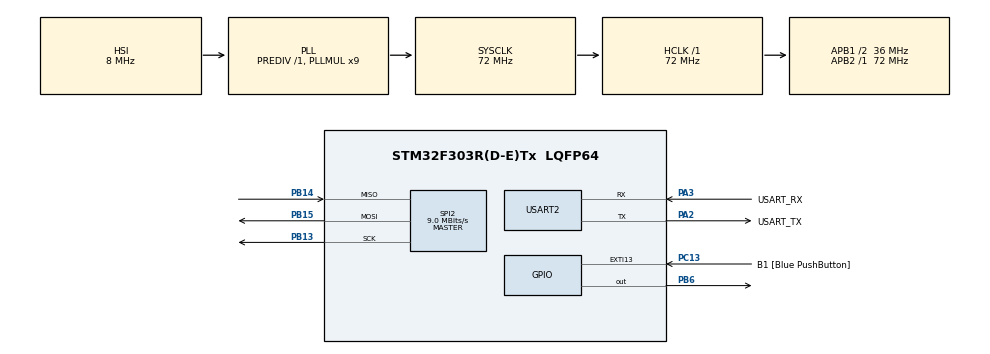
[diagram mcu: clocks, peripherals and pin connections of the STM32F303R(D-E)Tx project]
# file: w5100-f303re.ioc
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Mcu.Family=STM32F3
Mcu.Name=STM32F303R(D-E)Tx
Mcu.Package=LQFP64
NVIC.PriorityGroup=NVIC_PRIORITYGROUP_0
PA13.GPIO_Label=TMS
PA13.Mode=Serial_Wire
PA13.Signal=SYS_JTMS-SWDIO
PA14.GPIO_Label=TCK
PA14.Mode=Serial_Wire
PA14.Signal=SYS_JTCK-SWCLK
PA2.GPIO_Label=USART_TX
PA2.GPIO_Mode=GPIO_MODE_AF_PP
PA2.GPIO_PuPd=GPIO_NOPULL
PA2.GPIO_Speed=GPIO_SPEED_FREQ_LOW
PA2.Mode=Asynchronous
PA2.Signal=USART2_TX
PA3.GPIO_Label=USART_RX
PA3.GPIO_Mode=GPIO_MODE_AF_PP
PA3.GPIO_PuPd=GPIO_NOPULL
PA3.GPIO_Speed=GPIO_SPEED_FREQ_LOW
PA3.Mode=Asynchronous
PA3.Signal=USART2_RX
PB13.Mode=Full_Duplex_Master
PB13.Signal=SPI2_SCK
PB14.Mode=Full_Duplex_Master
PB14.Signal=SPI2_MISO
PB15.Mode=Full_Duplex_Master
PB15.Signal=SPI2_MOSI
PB3.GPIO_Label=SWO
PB3.Signal=SYS_JTDO-TRACESWO
PB6.GPIO_PuPd=GPIO_PULLUP
PB6.GPIO_Speed=GPIO_SPEED_FREQ_HIGH
PB6.Signal=GPIO_Output
PC13.GPIO_Label=B1 [Blue PushButton]
PC13.GPIO_ModeDefaultEXTI=GPIO_MODE_IT_FALLING
PC13.Signal=GPXTI13
PC14-OSC32_IN.Mode=LSE-External-Oscillator
PC14-OSC32_IN.Signal=RCC_OSC32_IN
PC15-OSC32_OUT.Mode=LSE-External-Oscillator
PC15-OSC32_OUT.Signal=RCC_OSC32_OUT
PF0-OSC_IN.Mode=HSE-External-Clock-Source
PF0-OSC_IN.Signal=RCC_OSC_IN
PF1-OSC_OUT.Signal=RCC_OSC_OUT
ProjectManager.HeapSize=0x200
ProjectManager.StackSize=0x400
ProjectManager.TargetToolchain=STM32CubeIDE
RCC.AHBFreq_Value=72000000
RCC.APB1CLKDivider=RCC_HCLK_DIV2
RCC.APB1Freq_Value=36000000
RCC.APB1TimFreq_Value=72000000
RCC.APB2Freq_Value=72000000
RCC.APB2TimFreq_Value=72000000
RCC.CortexFreq_Value=72000000
RCC.HCLKFreq_Value=72000000
RCC.HSE_VALUE=8000000
RCC.HSI_VALUE=8000000
RCC.PLLM=8
RCC.PLLMUL=RCC_PLL_MUL9
RCC.PLLN=336
RCC.PLLP=RCC_PLLP_DIV4
RCC.PLLQ=7
RCC.RCC_PLLsource_Clock_Source_FROM_HSE=RCC_HSE_PREDIV_DIV2
RCC.SYSCLKFreq_VALUE=72000000
RCC.SYSCLKSourceVirtual=RCC_SYSCLKSOURCE_PLLCLK
RCC.USBFreq_Value=72000000
SPI2.BaudRatePrescaler=SPI_BAUDRATEPRESCALER_4
SPI2.CalculateBaudRate=9.0 MBits/s
SPI2.DataSize=SPI_DATASIZE_8BIT
SPI2.Direction=SPI_DIRECTION_2LINES
SPI2.Mode=SPI_MODE_MASTER
SPI2.VirtualType=VM_MASTER
USART2.VirtualMode-Asynchronous=VM_ASYNC
board=NUCLEO-F303RE

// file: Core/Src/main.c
/* USER CODE BEGIN Header */
/**
  ******************************************************************************
  * @file           : main.c
  * @brief          : Main program body
  ******************************************************************************
  * @attention
  *
  * Copyright (c) 2024 STMicroelectronics.
  * All rights reserved.
  *
  * This software is licensed under terms that can be found in the LICENSE file
  * in the root directory of this software component.
  * If no LICENSE file comes with this software, it is provided AS-IS.
  *
  ******************************************************************************
  */
/* USER CODE END Header */
#include "main.h"

/* USER CODE BEGIN Includes */
#include "stdio.h"
#include "string.h"
#include "stdlib.h"

//#include "w5100_spi.h"
#include "wizchip_conf.h"
#include "socket.h"

//MQTT Related
#include "MQTTClient.h"
#include "mqtt_interface.h"
/* USER CODE END Includes */

/* USER CODE BEGIN PTD */
#ifdef __GNUC__
/* With GCC/RAISONANCE, small printf (option LD Linker->Libraries->Small printf
   set to 'Yes') calls __io_putchar() */
#define PUTCHAR_PROTOTYPE int __io_putchar(int ch)
#else
#define PUTCHAR_PROTOTYPE int fputc(int ch, FILE *f)
#endif /* __GNUC__ */
/* USER CODE END PTD */

/* USER CODE BEGIN PM */
int _write(int file, char *ptr, int len)
{
  /* Implement your write code here. This is
     used by puts and printf for example */
  for(int i = 0; i < len; i++)
    ITM_SendChar((*ptr++));

  return len;
}
/* USER CODE END PM */

SPI_HandleTypeDef hspi2;

UART_HandleTypeDef huart2;

/* USER CODE BEGIN PV */
uint8_t destination_ip[]={159,65,134,213};
uint16_t destination_port = 1883;

MQTTClient mqtt_client;
Network network;
MQTTPacket_connectData connect_data = MQTTPacket_connectData_initializer;

uint8_t sendbuff[256],receivebuff[256];

char* favoriotClientId = "";
char* favoriotUsername = "";
char* favoriotPassword = "";

/* USER CODE END PV */

void SystemClock_Config(void);
static void MX_GPIO_Init(void);
static void MX_USART2_UART_Init(void);
static void MX_SPI2_Init(void);

/* USER CODE BEGIN 0 */
void cs_sel() {
	HAL_GPIO_WritePin(GPIOB, GPIO_PIN_6, GPIO_PIN_RESET); //CS LOW
}

void cs_desel() {
	HAL_GPIO_WritePin(GPIOB, GPIO_PIN_6, GPIO_PIN_SET); //CS HIGH
}

uint8_t spi_rb(void) {
	uint8_t rbuf;
	HAL_SPI_Receive(&hspi2, &rbuf, 1, 0xFFFFFFFF);
	return rbuf;
}

void spi_wb(uint8_t b) {
	HAL_SPI_Transmit(&hspi2, &b, 1, 0xFFFFFFFF);
}

void OnMessageReceived(MessageData* md)
{
	char topic[(int)md->topicName->lenstring.len + 1];
	char payload[(int)md->message->payloadlen + 1];

//	MQTTString* topic = md->topicName;
//	MQTTMessage* message = md->message;

//	strncpy(topic, (char*)md->topicName->lenstring.data, (int)md->topicName->lenstring.len);
//	topic[(int)md->topicName->lenstring.len] = '\0';

//	strncpy(payload, (char*)md->message->payload, (int)md->message->payloadlen);
//	payload[(int)md->message->payloadlen] = '\0';

	strncpy(topic, (char*)md->topicName->lenstring.data, (int)md->topicName->lenstring.len);
	strncpy(payload, (char*)md->message->payload, (int)md->message->payloadlen);

	printf("topic\r\n%s\r\n", topic);
	printf("payload\r\n%s\r\n", payload);

}

/* USER CODE END 0 */

int main(void)
{

  /* MCU Configuration--------------------------------------------------------*/

  /* Reset of all peripherals, Initializes the Flash interface and the Systick. */
  HAL_Init();

  /* Configure the system clock */
  SystemClock_Config();

  /* Initialize all configured peripherals */
  MX_GPIO_Init();
  MX_USART2_UART_Init();
  MX_SPI2_Init();
  /* USER CODE BEGIN 2 */
//  W5500Init();
  uint8_t retVal, sockStatus;
  int16_t rcvLen;
  uint8_t rcvBuf[20], bufSize[] = {2, 2, 2, 2};

  reg_wizchip_cs_cbfunc(cs_sel, cs_desel);
  reg_wizchip_spi_cbfunc(spi_rb, spi_wb);

  wizchip_init(bufSize, bufSize);
  wiz_NetInfo netInfo = { .mac 	= {0x00, 0x08, 0xdc, 0xab, 0xcd, 0xef},	// Mac address
                          .ip 	= {192, 168, 31, 210},					// IP address
                          .sn 	= {255, 255, 255, 0},					// Subnet mask
                          .gw 	= {192, 168, 31, 1}};					// Gateway address

  wizchip_setnetinfo(&netInfo);
  HAL_Delay(1000);

  wizchip_getnetinfo(&netInfo);

  printf("MAC Address : %02x:%02x:%02x:%02x:%02x:%02x\n\r",netInfo.mac[0],netInfo.mac[1],netInfo.mac[2],netInfo.mac[3],netInfo.mac[4],netInfo.mac[5]);
  printf("IP  Address : %d.%d.%d.%d\n\r",netInfo.ip[0],netInfo.ip[1],netInfo.ip[2],netInfo.ip[3]);
  printf("Subnet Mask : %d.%d.%d.%d\n\r",netInfo.sn[0],netInfo.sn[1],netInfo.sn[2],netInfo.sn[3]);
  printf("Gateway     : %d.%d.%d.%d\n\r",netInfo.gw[0],netInfo.gw[1],netInfo.gw[2],netInfo.gw[3]);
  printf("DNS Server  : %d.%d.%d.%d\n\r",netInfo.dns[0],netInfo.dns[1],netInfo.dns[2],netInfo.dns[3]);

  connect_data.willFlag = 0;
  connect_data.MQTTVersion = 3;
  connect_data.clientID.cstring = favoriotClientId;
  connect_data.keepAliveInterval = 30;//seconds
  connect_data.cleansession = 1;
  connect_data.username.cstring = favoriotUsername;
  connect_data.password.cstring = favoriotPassword;

  NewNetwork(&network, 1);//1 is the socket number to use

  printf("Connecting to MQTT Broker ...");
  if(ConnectNetwork(&network, destination_ip, destination_port)!=SOCK_OK)
  {
	  printf("ERROR: Cannot connect with broker!\r\n");
	  //Broker (server) not reachable
	  while(1);
  }
  printf("MQTT Broker Connected\r\n");

  MQTTClientInit(&mqtt_client, &network, 200, sendbuff, 200, receivebuff, 2048);

  printf("Sending connect packet ...");

  if(MQTTConnect(&mqtt_client, &connect_data) != SUCCESS)
  {
	  printf("ERROR: Cannot send connect packet!\r\n");
//	  while(1);
  }

  printf("Connect packet sent successfully\r\n");

  //Subscribe to temperature sensor

  char mqttTopic[255];
  sprintf(mqttTopic, "%s/v2/streams/status", favoriotUsername);

  MQTTSubscribe(&mqtt_client, mqttTopic, QOS0, OnMessageReceived);
  printf(strcat("Subscribed to", mqttTopic));
  printf("\r\n\r\n");

  /* USER CODE END 2 */

  /* Infinite loop */
  /* USER CODE BEGIN WHILE */
  while (1)
  {
	 MQTTYield(&mqtt_client, 300);

    /* USER CODE END WHILE */

    /* USER CODE BEGIN 3 */

//	const char *data = ;
    char data[255];
    sprintf(data, "{\"device_developer_id\":\"iot_1_device@sooyewguan\",\"data\":{\"humidity\":\"%d\"}}\r\n", (rand() % 100));

	MQTTMessage msg;
	msg.payload = (void*)data;     // Set payload to the message string
	msg.payloadlen = strlen(data); // Set payload length
	printf("Sending payload %s", data);

//	MQTTMessage msg={ QOS0, 0, 0, 1, "{\"device_developer_id\":\"iot_1_device@sooyewguan\",\"data\":{\"humidity\":\"10\"}}",74};

	char mqttTopic[255];
	sprintf(mqttTopic, "%s/v2/streams", favoriotUsername);

	MQTTPublish(&mqtt_client, mqttTopic, &msg);
	HAL_Delay(5000);

  }
  /* USER CODE END 3 */
}

void SystemClock_Config(void)
{
  RCC_OscInitTypeDef RCC_OscInitStruct = {0};
  RCC_ClkInitTypeDef RCC_ClkInitStruct = {0};
  RCC_PeriphCLKInitTypeDef PeriphClkInit = {0};

  /** Initializes the RCC Oscillators according to the specified parameters
  * in the RCC_OscInitTypeDef structure.
  */
  RCC_OscInitStruct.OscillatorType = RCC_OSCILLATORTYPE_HSI;
  RCC_OscInitStruct.HSIState = RCC_HSI_ON;
  RCC_OscInitStruct.HSICalibrationValue = RCC_HSICALIBRATION_DEFAULT;
  RCC_OscInitStruct.PLL.PLLState = RCC_PLL_ON;
  RCC_OscInitStruct.PLL.PLLSource = RCC_PLLSOURCE_HSI;
  RCC_OscInitStruct.PLL.PLLMUL = RCC_PLL_MUL9;
  RCC_OscInitStruct.PLL.PREDIV = RCC_PREDIV_DIV1;
  if (HAL_RCC_OscConfig(&RCC_OscInitStruct) != HAL_OK)
  {
    Error_Handler();
  }

  /** Initializes the CPU, AHB and APB buses clocks
  */
  RCC_ClkInitStruct.ClockType = RCC_CLOCKTYPE_HCLK|RCC_CLOCKTYPE_SYSCLK
                              |RCC_CLOCKTYPE_PCLK1|RCC_CLOCKTYPE_PCLK2;
  RCC_ClkInitStruct.SYSCLKSource = RCC_SYSCLKSOURCE_PLLCLK;
  RCC_ClkInitStruct.AHBCLKDivider = RCC_SYSCLK_DIV1;
  RCC_ClkInitStruct.APB1CLKDivider = RCC_HCLK_DIV2;
  RCC_ClkInitStruct.APB2CLKDivider = RCC_HCLK_DIV1;

  if (HAL_RCC_ClockConfig(&RCC_ClkInitStruct, FLASH_LATENCY_2) != HAL_OK)
  {
    Error_Handler();
  }
  PeriphClkInit.PeriphClockSelection = RCC_PERIPHCLK_USART2;
  PeriphClkInit.Usart2ClockSelection = RCC_USART2CLKSOURCE_PCLK1;
  if (HAL_RCCEx_PeriphCLKConfig(&PeriphClkInit) != HAL_OK)
  {
    Error_Handler();
  }
}

static void MX_SPI2_Init(void)
{

  /* SPI2 parameter configuration*/
  hspi2.Instance = SPI2;
  hspi2.Init.Mode = SPI_MODE_MASTER;
  hspi2.Init.Direction = SPI_DIRECTION_2LINES;
  hspi2.Init.DataSize = SPI_DATASIZE_8BIT;
  hspi2.Init.CLKPolarity = SPI_POLARITY_LOW;
  hspi2.Init.CLKPhase = SPI_PHASE_1EDGE;
  hspi2.Init.NSS = SPI_NSS_SOFT;
  hspi2.Init.BaudRatePrescaler = SPI_BAUDRATEPRESCALER_16;
  hspi2.Init.FirstBit = SPI_FIRSTBIT_MSB;
  hspi2.Init.TIMode = SPI_TIMODE_DISABLE;
  hspi2.Init.CRCCalculation = SPI_CRCCALCULATION_DISABLE;
  hspi2.Init.CRCPolynomial = 7;
  hspi2.Init.CRCLength = SPI_CRC_LENGTH_DATASIZE;
  hspi2.Init.NSSPMode = SPI_NSS_PULSE_ENABLE;
  if (HAL_SPI_Init(&hspi2) != HAL_OK)
  {
    Error_Handler();
  }

}

static void MX_USART2_UART_Init(void)
{

  huart2.Instance = USART2;
  huart2.Init.BaudRate = 38400;
  huart2.Init.WordLength = UART_WORDLENGTH_8B;
  huart2.Init.StopBits = UART_STOPBITS_1;
  huart2.Init.Parity = UART_PARITY_NONE;
  huart2.Init.Mode = UART_MODE_TX_RX;
  huart2.Init.HwFlowCtl = UART_HWCONTROL_NONE;
  huart2.Init.OverSampling = UART_OVERSAMPLING_16;
  huart2.Init.OneBitSampling = UART_ONE_BIT_SAMPLE_DISABLE;
  huart2.AdvancedInit.AdvFeatureInit = UART_ADVFEATURE_NO_INIT;
  if (HAL_UART_Init(&huart2) != HAL_OK)
  {
    Error_Handler();
  }

}

static void MX_GPIO_Init(void)
{
  GPIO_InitTypeDef GPIO_InitStruct = {0};

  /* GPIO Ports Clock Enable */
  __HAL_RCC_GPIOC_CLK_ENABLE();
  __HAL_RCC_GPIOF_CLK_ENABLE();
  __HAL_RCC_GPIOA_CLK_ENABLE();
  __HAL_RCC_GPIOB_CLK_ENABLE();

  /*Configure GPIO pin Output Level */
  HAL_GPIO_WritePin(GPIOB, GPIO_PIN_6, GPIO_PIN_RESET);

  /*Configure GPIO pin : B1_Pin */
  GPIO_InitStruct.Pin = B1_Pin;
  GPIO_InitStruct.Mode = GPIO_MODE_IT_FALLING;
  GPIO_InitStruct.Pull = GPIO_NOPULL;
  HAL_GPIO_Init(B1_GPIO_Port, &GPIO_InitStruct);

  /*Configure GPIO pin : PB6 */
  GPIO_InitStruct.Pin = GPIO_PIN_6;
  GPIO_InitStruct.Mode = GPIO_MODE_OUTPUT_PP;
  GPIO_InitStruct.Pull = GPIO_PULLUP;
  GPIO_InitStruct.Speed = GPIO_SPEED_FREQ_HIGH;
  HAL_GPIO_Init(GPIOB, &GPIO_InitStruct);

}

void Error_Handler(void)
{
  __disable_irq();
  while (1)
  {
  }
}
